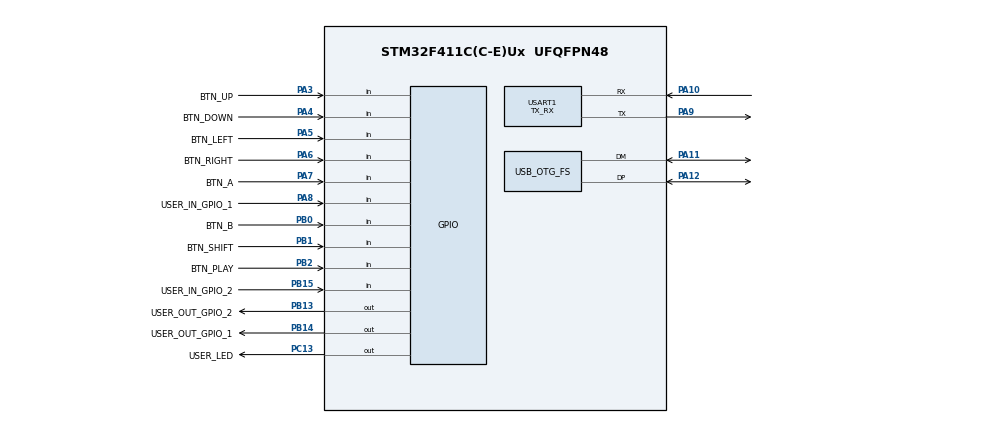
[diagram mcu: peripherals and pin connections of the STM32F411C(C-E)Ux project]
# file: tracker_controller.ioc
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Mcu.Family=STM32F4
Mcu.Name=STM32F411C(C-E)Ux
Mcu.Package=UFQFPN48
NVIC.OTG_FS_IRQn=true\:0\:0\:false\:false\:true\:true\:true\:true
NVIC.PriorityGroup=NVIC_PRIORITYGROUP_4
NVIC.USART1_IRQn=true\:0\:0\:false\:false\:true\:true\:true\:true
PA10.Mode=Asynchronous
PA10.Signal=USART1_RX
PA11.Mode=Device_Only
PA11.Signal=USB_OTG_FS_DM
PA12.Mode=Device_Only
PA12.Signal=USB_OTG_FS_DP
PA13.Mode=Serial_Wire
PA13.Signal=SYS_JTMS-SWDIO
PA14.Mode=Serial_Wire
PA14.Signal=SYS_JTCK-SWCLK
PA3.GPIO_Label=BTN_UP
PA3.GPIO_PuPd=GPIO_PULLDOWN
PA3.Signal=GPIO_Input
PA4.GPIO_Label=BTN_DOWN
PA4.GPIO_PuPd=GPIO_PULLDOWN
PA4.Signal=GPIO_Input
PA5.GPIO_Label=BTN_LEFT
PA5.GPIO_PuPd=GPIO_PULLDOWN
PA5.Signal=GPIO_Input
PA6.GPIO_Label=BTN_RIGHT
PA6.GPIO_PuPd=GPIO_PULLDOWN
PA6.Signal=GPIO_Input
PA7.GPIO_Label=BTN_A
PA7.GPIO_PuPd=GPIO_PULLDOWN
PA7.Signal=GPIO_Input
PA8.GPIO_Label=USER_IN_GPIO_1
PA8.GPIO_PuPd=GPIO_PULLDOWN
PA8.Signal=GPIO_Input
PA9.Mode=Asynchronous
PA9.Signal=USART1_TX
PB0.GPIO_Label=BTN_B
PB0.GPIO_PuPd=GPIO_PULLDOWN
PB0.Signal=GPIO_Input
PB1.GPIO_Label=BTN_SHIFT
PB1.GPIO_PuPd=GPIO_PULLDOWN
PB1.Signal=GPIO_Input
PB13.GPIO_Label=USER_OUT_GPIO_2
PB13.GPIO_PuPd=GPIO_PULLDOWN
PB13.Signal=GPIO_Output
PB14.GPIO_Label=USER_OUT_GPIO_1
PB14.GPIO_PuPd=GPIO_PULLDOWN
PB14.Signal=GPIO_Output
PB15.GPIO_Label=USER_IN_GPIO_2
PB15.Signal=GPIO_Input
PB2.GPIO_Label=BTN_PLAY
PB2.GPIO_PuPd=GPIO_PULLDOWN
PB2.Signal=GPIO_Input
PC13-ANTI_TAMP.GPIO_Label=USER_LED
PC13-ANTI_TAMP.GPIO_PuPd=GPIO_PULLDOWN
PC13-ANTI_TAMP.Signal=GPIO_Output
PC14-OSC32_IN.Mode=LSE-External-Oscillator
PC14-OSC32_IN.Signal=RCC_OSC32_IN
PC15-OSC32_OUT.Mode=LSE-External-Oscillator
PC15-OSC32_OUT.Signal=RCC_OSC32_OUT
PH0\ -\ OSC_IN.Mode=HSE-External-Oscillator
PH0\ -\ OSC_IN.Signal=RCC_OSC_IN
PH1\ -\ OSC_OUT.Mode=HSE-External-Oscillator
PH1\ -\ OSC_OUT.Signal=RCC_OSC_OUT
ProjectManager.HeapSize=0x2000
ProjectManager.StackSize=0x4000
ProjectManager.TargetToolchain=Makefile
RCC.48MHZClocksFreq_Value=48000000
RCC.AHBFreq_Value=60000000
RCC.APB1CLKDivider=RCC_HCLK_DIV2
RCC.APB1Freq_Value=30000000
RCC.APB1TimFreq_Value=60000000
RCC.APB2Freq_Value=60000000
RCC.APB2TimFreq_Value=60000000
RCC.CortexFreq_Value=60000000
RCC.EnbaleCSS=true
RCC.HCLKFreq_Value=60000000
RCC.HSE_VALUE=25000000
RCC.HSI_VALUE=16000000
RCC.PLLM=15
RCC.PLLN=144
RCC.PLLP=RCC_PLLP_DIV4
RCC.PLLQ=5
RCC.SYSCLKFreq_VALUE=60000000
RCC.SYSCLKSource=RCC_SYSCLKSOURCE_PLLCLK
RCC.VCOOutputFreq_Value=240000000
USART1.Mode=MODE_TX_RX
USART1.VirtualMode=VM_ASYNC
USB_DEVICE.CLASS_NAME_FS=HID
USB_DEVICE.VirtualMode=Hid
USB_DEVICE.VirtualModeFS=Hid_FS
USB_OTG_FS.VirtualMode=Device_Only
VP_USB_DEVICE_VS_USB_DEVICE_HID_FS.Mode=HID_FS
board=custom

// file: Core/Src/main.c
/* USER CODE BEGIN Header */
/**
  ******************************************************************************
  * @file           : main.c
  * @brief          : Main program body
  ******************************************************************************
  * @attention
  *
  * Copyright (c) 2023 STMicroelectronics.
  * All rights reserved.
  *
  * This software is licensed under terms that can be found in the LICENSE file
  * in the root directory of this software component.
  * If no LICENSE file comes with this software, it is provided AS-IS.
  *
  ******************************************************************************
  */
/* USER CODE END Header */
#include "main.h"
#include "usb_device.h"

/* USER CODE BEGIN Includes */
#include "usbd_hid.h"
#include "retarget.h"
/* USER CODE END Includes */

UART_HandleTypeDef huart1;

/* USER CODE BEGIN PV */
#define BUTTON_MAX_NUMBER 8

extern USBD_HandleTypeDef hUsbDeviceFS;

typedef struct
{
	uint8_t MODIFIER;
	uint8_t RESERVED;
	uint8_t KEYCODE1;
	uint8_t KEYCODE2;
	uint8_t KEYCODE3;
	uint8_t KEYCODE4;
	uint8_t KEYCODE5;
	uint8_t KEYCODE6;
}subKeyBoard;

subKeyBoard keyBoardHIDsub = {0,0,0,0,0,0,0,0};

/* USER CODE END PV */

void SystemClock_Config(void);
static void MX_GPIO_Init(void);
static void MX_USART1_UART_Init(void);

/* USER CODE BEGIN 0 */

#define BUTTON_MAX_NUMBER 8

typedef enum
{
  BTN_STATE_NPRESSED,
  BTN_STATE_PRESS_EVENT,

  BTN_STATE_HOLD,
  BTN_STATE_RELEASE_EVENT,
  BTN_STATE_MAX,
}Btn_State_t;

// int16_t btn_list[8] = {0,0,0,0,0,0,0,0};
// int16_t btn_state[8] = {0,0,0,0,0,0,0,0};

/**
 * Defines a list of masks that identify the gpio channel that the buttons
 * are attached to.  These are used by Gpio_ChannelRead to get the pin state.
 */
Btn_State_t btn_state[BUTTON_MAX_NUMBER] =
{
    BTN_STATE_NPRESSED,
    BTN_STATE_NPRESSED,
    BTN_STATE_NPRESSED,
    BTN_STATE_NPRESSED,
    BTN_STATE_NPRESSED,
    BTN_STATE_NPRESSED,
    BTN_STATE_NPRESSED,
    BTN_STATE_NPRESSED,
};

/**
 * ButtonCurrentState holds the current state of the physical pin
 * They are initialized to NOT_PRESSED which is an electrical state
 * of 1.
 */

// inputs
// GPIOA BTN_UP_Pin|BTN_DOWN_Pin|BTN_LEFT_Pin|BTN_RIGHT_Pin
//                           |BTN_A_Pin|USER_IN_GPIO_1_Pin
// GPIOB BTN_B_Pin|BTN_SHIFT_Pin|BTN_PLAY_Pin
// USER_IN_GPIO_2_GPIO_Port USER_IN_GPIO_2_Pin

//outputs
// GPIOB USER_OUT_GPIO_2_Pin|USER_OUT_GPIO_1_Pin
// USER_LED_GPIO_Port USER_LED_Pin

const uint32_t btn_list[][2] =
{
  {GPIOA, BTN_UP_Pin},
  {GPIOA, BTN_DOWN_Pin},
  {GPIOA, BTN_LEFT_Pin},
  {GPIOA, BTN_RIGHT_Pin},
  {GPIOA, BTN_A_Pin},
  {GPIOB, BTN_B_Pin},
  {GPIOB, BTN_SHIFT_Pin},
  {GPIOB, BTN_PLAY_Pin},
};

typedef enum
{
  BTN_UP = 0,
  BTN_DOWN,
  BTN_LEFT,
  BTN_RIGHT,
  BTN_A,
  BTN_B,
  BTN_SHIFT,
  BTN_PLAY,
}Button_t;

// /**
//  * Defines a list that contains the number of debounce counts necessary
//  * to successfully debounce the button(s).  An array was chosen so that
//  * different buttons with different debounce parameters could be used
//  * in the same application.  It is assumed that each count represents
//  * 10 milliseconds.  In this case each switch has a 30 millisecond
//  * debounce time.  Different switches can be attached and debounced at
//  * different rates.
//  */
// const uint8_t btn_debounce_cnt_lst[BUTTON_MAX_NUMBER] =
// {
//    4, 4, 4, 4, 4, 4, 4, 4
// };

// /**
//  * Stores the current debounce count of the buttons.  This variable is
//  * initialized in Button_Debouncer_Init.
//  */
// uint8_t btn_debounce_cnt[BUTTON_MAX_NUMBER];

// void Button_Debouncer_Init(void)
// {
// 	uint8_t i = 0;

// 	/* Initialize ButtonDebounceCount to an initial value of zero for all
// 	 * buttons that are attached to the system.
// 	 */
// 	for(i = 0; i < BUTTON_MAX_NUMBER; i++)
// 	{
// 		btn_debounce_cnt[i] = 0;
// 	}
// }

// void Button_Debounce(void)
// {
// 	uint8_t btn_idx = 0;

// 	/* Loop through all of the buttons, read their state and determine if
// 	 * any of their states have changed.
// 	 */
// 	for(btn_idx = 0; btn_idx < BUTTON_MAX_NUMBER; btn_idx++)
// 	{
// 		/* Check to see if the pin reading is different than the current
// 		 * debounced button state.  If it is different then the debounce
// 		 * counter for this pin will be incremented.  If it is the same
// 		 * the counter will be cleared.
// 		 */

// 	}
//   return;
// }

// Btn_State_t Button_StateGet(Button_t button_t)
// {
// 	Btn_State_t State;

// 	/* Verify that the requested button exists and
// 	 * return its state.  If it doesn't exist, then
// 	 * return the MAX as an error code.
// 	 */
// 	if(button_t < BUTTON_MAX_NUMBER)
// 	{
// 		State = btn_state[button_t];
// 	}
// 	else
// 	{
// 		State = BTN_STATE_MAX;
// 	}

// 	return State;
// }

typedef struct
{
  GPIO_TypeDef *gpio;
  uint8_t pin;

  uint8_t id;
  uint8_t keycode;
  uint8_t debounce_cnt;

  Btn_State_t prev_state;
  Btn_State_t cur_state;

  char is_init_ready;

}KeyCtx_t;

static KeyCtx_t *Keys;
static int16_t total_keys = 0;
static int16_t debounce_cnt_max = 4;

void init_keys(KeyCtx_t *Keys){
  Keys = (KeyCtx_t *) malloc(BUTTON_MAX_NUMBER * sizeof(KeyCtx_t));
  if (Keys == NULL){
    Error_Handler();
  }

  for (int i=0; i< BUTTON_MAX_NUMBER; i++){
    Keys[i].cur_state = BTN_STATE_NPRESSED;
    Keys[i].prev_state = BTN_STATE_NPRESSED;
    Keys[i].debounce_cnt = 0;
    Keys[i].is_init_ready = 0x00;
  }
  return;
}

void register_key(KeyCtx_t *Keys, uint8_t id, GPIO_TypeDef *gpio, uint8_t pin, uint8_t keycode){
  if (id > BUTTON_MAX_NUMBER){
    return;
  }
  id--;
  Keys[id].gpio = gpio;
  Keys[id].pin = pin;
  Keys[id].keycode = keycode;
  Keys[id].is_init_ready = 0x01;
}

void process_keys()
{
  for (int i = 0; i < 1; i++)
  {
    // KeyCtx_t *key = &Keys[i];
    // if (!key->is_init_ready)
    // {
      // continue;
    // }

    GPIO_PinState read = HAL_GPIO_ReadPin(Keys[i].gpio, Keys[i].pin);
    HAL_GPIO_WritePin(USER_LED_GPIO_Port, USER_LED_Pin, read);
    return;

    // if ((int8_t)read != key->cur_state)
    // {
    //   // key->debounce_cnt++;
    //   // if (key->debounce_cnt >= debounce_cnt_max)
    //   // {
    //     if (key->cur_state == BTN_STATE_NPRESSED){
    //       key->cur_state = BTN_STATE_PRESS_EVENT;
    //       HAL_GPIO_WritePin(USER_LED_GPIO_Port, USER_LED_Pin, 0);
    //     }
    //     // else if (key->cur_state == BTN_STATE_PRESS_EVENT)
    //     // {
    //       // key->cur_state = BTN_STATE_HOLD;
    //     // }
    //     // else if (key->cur_state == BTN_STATE_HOLD){
    //       // key->cur_state = BTN_STATE_RELEASE_EVENT;
    //     // }
    //     else{
    //       HAL_GPIO_WritePin(USER_LED_GPIO_Port, USER_LED_Pin, 1);
    //       key->cur_state = BTN_STATE_NPRESSED;
    //     }
    //   }
      // else
      // {
        // key->debounce_cnt = 0;
      // }
    // }
  }
  return;
}
  /* USER CODE END 0 */

  /**
   * @brief  The application entry point.
   * @retval int
   */
  int main(void)
  {

    /* MCU Configuration--------------------------------------------------------*/

    /* Reset of all peripherals, Initializes the Flash interface and the Systick. */
    HAL_Init();

    /* Configure the system clock */
    SystemClock_Config();

    /* Initialize all configured peripherals */
    MX_GPIO_Init();
    MX_USB_DEVICE_Init();
    MX_USART1_UART_Init();
    /* USER CODE BEGIN 2 */

    // enabling printf redirecting to uart device.
    RetargetInit(&huart1);

    // Button_Debouncer_Init();
    HAL_GPIO_WritePin(USER_LED_GPIO_Port, USER_LED_Pin, 1);

    register_key(Keys, 0, GPIOA, BTN_UP_Pin, 0x00);
    register_key(Keys, 1, GPIOA, BTN_DOWN_Pin, 0x00);
    register_key(Keys, 2, GPIOA, BTN_LEFT_Pin, 0x00);
    register_key(Keys, 3, GPIOA, BTN_RIGHT_Pin, 0x00);
    register_key(Keys, 4, GPIOA, BTN_A_Pin, 0x00);
    register_key(Keys, 5, GPIOB, BTN_B_Pin, 0x00);
    register_key(Keys, 6, GPIOB, BTN_SHIFT_Pin, 0x00);
    register_key(Keys, 7, GPIOB, BTN_PLAY_Pin, 0x00);

    /* USER CODE END 2 */

    /* Infinite loop */
    while (1)
    {

      /* USER CODE BEGIN 3 */
      // Button_Debounce();
      process_keys();

      // GPIO_PinState read = HAL_GPIO_ReadPin(GPIOA, BTN_UP_Pin);
      // if (read)
      // {
      //   // keyBoardHIDsub.MODIFIER=0x02;  // To press shift key<br
      //   keyBoardHIDsub.KEYCODE1 = 0x04; // Press A key
      //   // keyBoardHIDsub.KEYCODE2=0x05;  // Press B key
      //   // keyBoardHIDsub.KEYCODE3=0x06;  // Press C key
      //   USBD_HID_SendReport(&hUsbDeviceFS, &keyBoardHIDsub, sizeof(keyBoardHIDsub));
      //   HAL_Delay(50); // Press all key for 50 milliseconds
      //   // keyBoardHIDsub.MODIFIER=0x00;  // To release shift key
      //   keyBoardHIDsub.KEYCODE1 = 0x00; // Release A key
      //   // keyBoardHIDsub.KEYCODE2=0x00;  // Release B key
      //   // keyBoardHIDsub.KEYCODE3=0x00;  // Release C key
      //   USBD_HID_SendReport(&hUsbDeviceFS, &keyBoardHIDsub, sizeof(keyBoardHIDsub));
      //   HAL_Delay(1000); // Repeat this task on every 1 second
      // }

      // Btn_State_t btn_state;
      // btn_state = Button_StateGet(BTN_UP);
      // if(btn_state == BTN_STATE_PRESSED){
      //   HAL_GPIO_WritePin(USER_LED_GPIO_Port, USER_LED_Pin, 1);
      // }else{
      //   HAL_GPIO_WritePin(USER_LED_GPIO_Port, USER_LED_Pin, 0);
      // }

      // btn_state = Button_StateGet(BTN_DOWN);
      // if(btn_state == BTN_STATE_PRESSED){
      //   HAL_GPIO_WritePin(USER_LED_GPIO_Port, USER_LED_Pin, 1);
      // }else{
      //   HAL_GPIO_WritePin(USER_LED_GPIO_Port, USER_LED_Pin, 0);
      // }

      // btn_state = Button_StateGet(BTN_LEFT);
      // if(btn_state == BTN_STATE_PRESSED){
      //   HAL_GPIO_WritePin(USER_LED_GPIO_Port, USER_LED_Pin, 1);
      // }else{
      //   HAL_GPIO_WritePin(USER_LED_GPIO_Port, USER_LED_Pin, 0);
      // }

      // btn_state = Button_StateGet(BTN_RIGHT);
      // if(btn_state == BTN_STATE_PRESSED){
      //   HAL_GPIO_WritePin(USER_LED_GPIO_Port, USER_LED_Pin, 1);
      // }else{
      //   HAL_GPIO_WritePin(USER_LED_GPIO_Port, USER_LED_Pin, 0);
      // }

      // btn_state = Button_StateGet(BTN_A);
      // if(btn_state == BTN_STATE_PRESSED){
      //   HAL_GPIO_WritePin(USER_LED_GPIO_Port, USER_LED_Pin, 1);
      // }else{
      //   HAL_GPIO_WritePin(USER_LED_GPIO_Port, USER_LED_Pin, 0);
      // }

      // btn_state = Button_StateGet(BTN_B);
      // if(btn_state == BTN_STATE_PRESSED){
      //   HAL_GPIO_WritePin(USER_LED_GPIO_Port, USER_LED_Pin, 1);
      // }else{
      //   HAL_GPIO_WritePin(USER_LED_GPIO_Port, USER_LED_Pin, 0);
      // }

      // btn_state = Button_StateGet(BTN_SHIFT);
      // if(btn_state == BTN_STATE_PRESSED){
      //   HAL_GPIO_WritePin(USER_LED_GPIO_Port, USER_LED_Pin, 1);
      // }else{
      //   HAL_GPIO_WritePin(USER_LED_GPIO_Port, USER_LED_Pin, 0);
      // }

      // btn_state = Button_StateGet(BTN_PLAY);
      // if(btn_state == BTN_STATE_PRESSED){
      //   HAL_GPIO_WritePin(USER_LED_GPIO_Port, USER_LED_Pin, 1);
      // }else{
      //   HAL_GPIO_WritePin(USER_LED_GPIO_Port, USER_LED_Pin, 0);
      // }

      //   if(Button_MenuState == BUTTON_PRESSED)
      //   {
      //     Led_Toggle(LED_RED);
      //  }

      // keyBoardHIDsub.MODIFIER=0x02;  // To press shift key<br>keyBoardHIDsub.KEYCODE1=0x04;  // Press A key
      // keyBoardHIDsub.KEYCODE2=0x05;  // Press B key
      // keyBoardHIDsub.KEYCODE3=0x06;  // Press C key
      // USBD_HID_SendReport(&hUsbDeviceFS,&keyBoardHIDsub,sizeof(keyBoardHIDsub));
      // HAL_Delay(50); 		       // Press all key for 50 milliseconds
      // keyBoardHIDsub.MODIFIER=0x00;  // To release shift key
      // keyBoardHIDsub.KEYCODE1=0x00;  // Release A key
      // keyBoardHIDsub.KEYCODE2=0x00;  // Release B key
      // keyBoardHIDsub.KEYCODE3=0x00;  // Release C key
      // USBD_HID_SendReport(&hUsbDeviceFS,&keyBoardHIDsub,sizeof(keyBoardHIDsub));
      // HAL_Delay(1000); 	       // Repeat this task on every 1 second
    }
    /* USER CODE END 3 */
  }

  /**
   * @brief System Clock Configuration
   * @retval None
   */
  void SystemClock_Config(void)
  {
    RCC_OscInitTypeDef RCC_OscInitStruct = {0};
    RCC_ClkInitTypeDef RCC_ClkInitStruct = {0};

    /** Configure the main internal regulator output voltage
     */
    __HAL_RCC_PWR_CLK_ENABLE();
    __HAL_PWR_VOLTAGESCALING_CONFIG(PWR_REGULATOR_VOLTAGE_SCALE1);

    /** Initializes the RCC Oscillators according to the specified parameters
     * in the RCC_OscInitTypeDef structure.
     */
    RCC_OscInitStruct.OscillatorType = RCC_OSCILLATORTYPE_HSE;
    RCC_OscInitStruct.HSEState = RCC_HSE_ON;
    RCC_OscInitStruct.PLL.PLLState = RCC_PLL_ON;
    RCC_OscInitStruct.PLL.PLLSource = RCC_PLLSOURCE_HSE;
    RCC_OscInitStruct.PLL.PLLM = 15;
    RCC_OscInitStruct.PLL.PLLN = 144;
    RCC_OscInitStruct.PLL.PLLP = RCC_PLLP_DIV4;
    RCC_OscInitStruct.PLL.PLLQ = 5;
    if (HAL_RCC_OscConfig(&RCC_OscInitStruct) != HAL_OK)
    {
      Error_Handler();
    }

    /** Initializes the CPU, AHB and APB buses clocks
     */
    RCC_ClkInitStruct.ClockType = RCC_CLOCKTYPE_HCLK | RCC_CLOCKTYPE_SYSCLK | RCC_CLOCKTYPE_PCLK1 | RCC_CLOCKTYPE_PCLK2;
    RCC_ClkInitStruct.SYSCLKSource = RCC_SYSCLKSOURCE_PLLCLK;
    RCC_ClkInitStruct.AHBCLKDivider = RCC_SYSCLK_DIV1;
    RCC_ClkInitStruct.APB1CLKDivider = RCC_HCLK_DIV2;
    RCC_ClkInitStruct.APB2CLKDivider = RCC_HCLK_DIV1;

    if (HAL_RCC_ClockConfig(&RCC_ClkInitStruct, FLASH_LATENCY_1) != HAL_OK)
    {
      Error_Handler();
    }

    /** Enables the Clock Security System
     */
    HAL_RCC_EnableCSS();
  }

  /**
   * @brief USART1 Initialization Function
   * @param None
   * @retval None
   */
  static void MX_USART1_UART_Init(void)
  {

    huart1.Instance = USART1;
    huart1.Init.BaudRate = 115200;
    huart1.Init.WordLength = UART_WORDLENGTH_8B;
    huart1.Init.StopBits = UART_STOPBITS_1;
    huart1.Init.Parity = UART_PARITY_NONE;
    huart1.Init.Mode = UART_MODE_TX_RX;
    huart1.Init.HwFlowCtl = UART_HWCONTROL_NONE;
    huart1.Init.OverSampling = UART_OVERSAMPLING_16;
    if (HAL_UART_Init(&huart1) != HAL_OK)
    {
      Error_Handler();
    }
  }

  /**
   * @brief GPIO Initialization Function
   * @param None
   * @retval None
   */
  static void MX_GPIO_Init(void)
  {
    GPIO_InitTypeDef GPIO_InitStruct = {0};

    /* GPIO Ports Clock Enable */
    __HAL_RCC_GPIOC_CLK_ENABLE();
    __HAL_RCC_GPIOH_CLK_ENABLE();
    __HAL_RCC_GPIOA_CLK_ENABLE();
    __HAL_RCC_GPIOB_CLK_ENABLE();

    /*Configure GPIO pin Output Level */
    HAL_GPIO_WritePin(USER_LED_GPIO_Port, USER_LED_Pin, GPIO_PIN_RESET);

    /*Configure GPIO pin Output Level */
    HAL_GPIO_WritePin(GPIOB, USER_OUT_GPIO_2_Pin | USER_OUT_GPIO_1_Pin, GPIO_PIN_RESET);

    /*Configure GPIO pin : USER_LED_Pin */
    GPIO_InitStruct.Pin = USER_LED_Pin;
    GPIO_InitStruct.Mode = GPIO_MODE_OUTPUT_PP;
    GPIO_InitStruct.Pull = GPIO_PULLDOWN;
    GPIO_InitStruct.Speed = GPIO_SPEED_FREQ_LOW;
    HAL_GPIO_Init(USER_LED_GPIO_Port, &GPIO_InitStruct);

    /*Configure GPIO pins : BTN_UP_Pin BTN_DOWN_Pin BTN_LEFT_Pin BTN_RIGHT_Pin
                             BTN_A_Pin USER_IN_GPIO_1_Pin */
    GPIO_InitStruct.Pin = BTN_UP_Pin | BTN_DOWN_Pin | BTN_LEFT_Pin | BTN_RIGHT_Pin | BTN_A_Pin | USER_IN_GPIO_1_Pin;
    GPIO_InitStruct.Mode = GPIO_MODE_INPUT;
    GPIO_InitStruct.Pull = GPIO_PULLDOWN;
    HAL_GPIO_Init(GPIOA, &GPIO_InitStruct);

    /*Configure GPIO pins : BTN_B_Pin BTN_SHIFT_Pin BTN_PLAY_Pin */
    GPIO_InitStruct.Pin = BTN_B_Pin | BTN_SHIFT_Pin | BTN_PLAY_Pin;
    GPIO_InitStruct.Mode = GPIO_MODE_INPUT;
    GPIO_InitStruct.Pull = GPIO_PULLDOWN;
    HAL_GPIO_Init(GPIOB, &GPIO_InitStruct);

    /*Configure GPIO pins : USER_OUT_GPIO_2_Pin USER_OUT_GPIO_1_Pin */
    GPIO_InitStruct.Pin = USER_OUT_GPIO_2_Pin | USER_OUT_GPIO_1_Pin;
    GPIO_InitStruct.Mode = GPIO_MODE_OUTPUT_PP;
    GPIO_InitStruct.Pull = GPIO_PULLDOWN;
    GPIO_InitStruct.Speed = GPIO_SPEED_FREQ_LOW;
    HAL_GPIO_Init(GPIOB, &GPIO_InitStruct);

    /*Configure GPIO pin : USER_IN_GPIO_2_Pin */
    GPIO_InitStruct.Pin = USER_IN_GPIO_2_Pin;
    GPIO_InitStruct.Mode = GPIO_MODE_INPUT;
    GPIO_InitStruct.Pull = GPIO_NOPULL;
    HAL_GPIO_Init(USER_IN_GPIO_2_GPIO_Port, &GPIO_InitStruct);
  }

  /**
   * @brief  This function is executed in case of error occurrence.
   * @retval None
   */
  void Error_Handler(void)
  {
    __disable_irq();
    while (1)
    {
    }
  }
